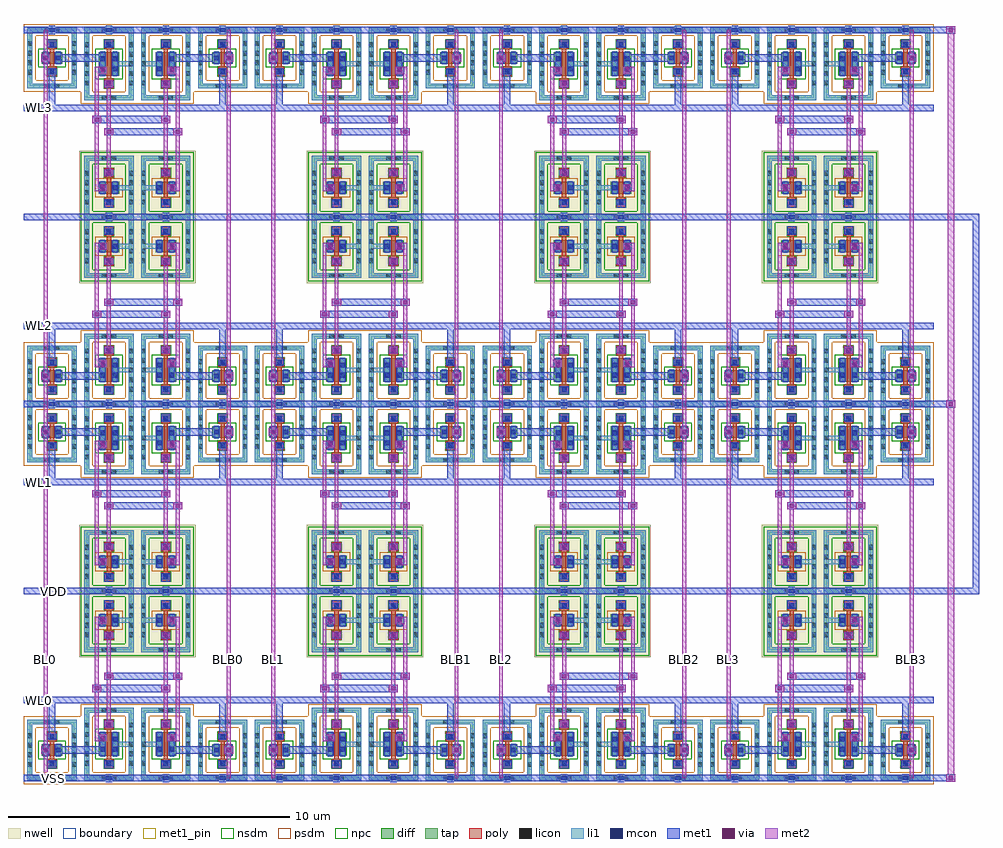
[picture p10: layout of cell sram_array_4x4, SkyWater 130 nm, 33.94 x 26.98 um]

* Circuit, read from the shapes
.subckt sram_array_4x4 BL0 BL1 BL2 BL3 BLB0 BLB1 BLB2 BLB3 VDD VSS WL0 WL1 WL2 WL3
XM1 sram_6t_0/Q WL0 BL0 VSS sky130_fd_pr__nfet_01v8 w=0.42 l=0.15
XM2 sram_6t_2/Q WL1 BL0 VSS sky130_fd_pr__nfet_01v8 w=0.42 l=0.15
XM3 sram_6t_8/Q WL2 BL0 VSS sky130_fd_pr__nfet_01v8 w=0.42 l=0.15
XM4 sram_6t_12/Q WL3 BL0 VSS sky130_fd_pr__nfet_01v8 w=0.42 l=0.15
XM5 VSS sram_6t_0/QB sram_6t_0/Q VSS sky130_fd_pr__nfet_01v8 w=0.84 l=0.15
XM6 VSS sram_6t_2/QB sram_6t_2/Q VSS sky130_fd_pr__nfet_01v8 w=0.84 l=0.15
XM7 VSS sram_6t_8/QB sram_6t_8/Q VSS sky130_fd_pr__nfet_01v8 w=0.84 l=0.15
XM8 VSS sram_6t_12/QB sram_6t_12/Q VSS sky130_fd_pr__nfet_01v8 w=0.84 l=0.15
XM9 sram_6t_0/QB sram_6t_0/Q VSS VSS sky130_fd_pr__nfet_01v8 w=0.84 l=0.15
XM10 sram_6t_2/QB sram_6t_2/Q VSS VSS sky130_fd_pr__nfet_01v8 w=0.84 l=0.15
XM11 sram_6t_8/QB sram_6t_8/Q VSS VSS sky130_fd_pr__nfet_01v8 w=0.84 l=0.15
XM12 sram_6t_12/QB sram_6t_12/Q VSS VSS sky130_fd_pr__nfet_01v8 w=0.84 l=0.15
XM13 BLB0 WL0 sram_6t_0/QB VSS sky130_fd_pr__nfet_01v8 w=0.42 l=0.15
XM14 BLB0 WL1 sram_6t_2/QB VSS sky130_fd_pr__nfet_01v8 w=0.42 l=0.15
XM15 BLB0 WL2 sram_6t_8/QB VSS sky130_fd_pr__nfet_01v8 w=0.42 l=0.15
XM16 BLB0 WL3 sram_6t_12/QB VSS sky130_fd_pr__nfet_01v8 w=0.42 l=0.15
XM17 sram_6t_1/Q WL0 BL1 VSS sky130_fd_pr__nfet_01v8 w=0.42 l=0.15
XM18 sram_6t_3/Q WL1 BL1 VSS sky130_fd_pr__nfet_01v8 w=0.42 l=0.15
XM19 sram_6t_9/Q WL2 BL1 VSS sky130_fd_pr__nfet_01v8 w=0.42 l=0.15
XM20 sram_6t_13/Q WL3 BL1 VSS sky130_fd_pr__nfet_01v8 w=0.42 l=0.15
XM21 VSS sram_6t_1/QB sram_6t_1/Q VSS sky130_fd_pr__nfet_01v8 w=0.84 l=0.15
XM22 VSS sram_6t_3/QB sram_6t_3/Q VSS sky130_fd_pr__nfet_01v8 w=0.84 l=0.15
XM23 VSS sram_6t_9/QB sram_6t_9/Q VSS sky130_fd_pr__nfet_01v8 w=0.84 l=0.15
XM24 VSS sram_6t_13/QB sram_6t_13/Q VSS sky130_fd_pr__nfet_01v8 w=0.84 l=0.15
XM25 sram_6t_1/QB sram_6t_1/Q VSS VSS sky130_fd_pr__nfet_01v8 w=0.84 l=0.15
XM26 sram_6t_3/QB sram_6t_3/Q VSS VSS sky130_fd_pr__nfet_01v8 w=0.84 l=0.15
XM27 sram_6t_9/QB sram_6t_9/Q VSS VSS sky130_fd_pr__nfet_01v8 w=0.84 l=0.15
XM28 sram_6t_13/QB sram_6t_13/Q VSS VSS sky130_fd_pr__nfet_01v8 w=0.84 l=0.15
XM29 BLB1 WL0 sram_6t_1/QB VSS sky130_fd_pr__nfet_01v8 w=0.42 l=0.15
XM30 BLB1 WL1 sram_6t_3/QB VSS sky130_fd_pr__nfet_01v8 w=0.42 l=0.15
XM31 BLB1 WL2 sram_6t_9/QB VSS sky130_fd_pr__nfet_01v8 w=0.42 l=0.15
XM32 BLB1 WL3 sram_6t_13/QB VSS sky130_fd_pr__nfet_01v8 w=0.42 l=0.15
XM33 sram_6t_4/Q WL0 BL2 VSS sky130_fd_pr__nfet_01v8 w=0.42 l=0.15
XM34 sram_6t_5/Q WL1 BL2 VSS sky130_fd_pr__nfet_01v8 w=0.42 l=0.15
XM35 sram_6t_10/Q WL2 BL2 VSS sky130_fd_pr__nfet_01v8 w=0.42 l=0.15
XM36 sram_6t_14/Q WL3 BL2 VSS sky130_fd_pr__nfet_01v8 w=0.42 l=0.15
XM37 VSS sram_6t_4/QB sram_6t_4/Q VSS sky130_fd_pr__nfet_01v8 w=0.84 l=0.15
XM38 VSS sram_6t_5/QB sram_6t_5/Q VSS sky130_fd_pr__nfet_01v8 w=0.84 l=0.15
XM39 VSS sram_6t_10/QB sram_6t_10/Q VSS sky130_fd_pr__nfet_01v8 w=0.84 l=0.15
XM40 VSS sram_6t_14/QB sram_6t_14/Q VSS sky130_fd_pr__nfet_01v8 w=0.84 l=0.15
XM41 sram_6t_4/QB sram_6t_4/Q VSS VSS sky130_fd_pr__nfet_01v8 w=0.84 l=0.15
XM42 sram_6t_5/QB sram_6t_5/Q VSS VSS sky130_fd_pr__nfet_01v8 w=0.84 l=0.15
XM43 sram_6t_10/QB sram_6t_10/Q VSS VSS sky130_fd_pr__nfet_01v8 w=0.84 l=0.15
XM44 sram_6t_14/QB sram_6t_14/Q VSS VSS sky130_fd_pr__nfet_01v8 w=0.84 l=0.15
XM45 BLB2 WL0 sram_6t_4/QB VSS sky130_fd_pr__nfet_01v8 w=0.42 l=0.15
XM46 BLB2 WL1 sram_6t_5/QB VSS sky130_fd_pr__nfet_01v8 w=0.42 l=0.15
XM47 BLB2 WL2 sram_6t_10/QB VSS sky130_fd_pr__nfet_01v8 w=0.42 l=0.15
XM48 BLB2 WL3 sram_6t_14/QB VSS sky130_fd_pr__nfet_01v8 w=0.42 l=0.15
XM49 sram_6t_6/Q WL0 BL3 VSS sky130_fd_pr__nfet_01v8 w=0.42 l=0.15
XM50 sram_6t_7/Q WL1 BL3 VSS sky130_fd_pr__nfet_01v8 w=0.42 l=0.15
XM51 sram_6t_11/Q WL2 BL3 VSS sky130_fd_pr__nfet_01v8 w=0.42 l=0.15
XM52 sram_6t_15/Q WL3 BL3 VSS sky130_fd_pr__nfet_01v8 w=0.42 l=0.15
XM53 VSS sram_6t_6/QB sram_6t_6/Q VSS sky130_fd_pr__nfet_01v8 w=0.84 l=0.15
XM54 VSS sram_6t_7/QB sram_6t_7/Q VSS sky130_fd_pr__nfet_01v8 w=0.84 l=0.15
XM55 VSS sram_6t_11/QB sram_6t_11/Q VSS sky130_fd_pr__nfet_01v8 w=0.84 l=0.15
XM56 VSS sram_6t_15/QB sram_6t_15/Q VSS sky130_fd_pr__nfet_01v8 w=0.84 l=0.15
XM57 sram_6t_6/QB sram_6t_6/Q VSS VSS sky130_fd_pr__nfet_01v8 w=0.84 l=0.15
XM58 sram_6t_7/QB sram_6t_7/Q VSS VSS sky130_fd_pr__nfet_01v8 w=0.84 l=0.15
XM59 sram_6t_11/QB sram_6t_11/Q VSS VSS sky130_fd_pr__nfet_01v8 w=0.84 l=0.15
XM60 sram_6t_15/QB sram_6t_15/Q VSS VSS sky130_fd_pr__nfet_01v8 w=0.84 l=0.15
XM61 BLB3 WL0 sram_6t_6/QB VSS sky130_fd_pr__nfet_01v8 w=0.42 l=0.15
XM62 BLB3 WL1 sram_6t_7/QB VSS sky130_fd_pr__nfet_01v8 w=0.42 l=0.15
XM63 BLB3 WL2 sram_6t_11/QB VSS sky130_fd_pr__nfet_01v8 w=0.42 l=0.15
XM64 BLB3 WL3 sram_6t_15/QB VSS sky130_fd_pr__nfet_01v8 w=0.42 l=0.15
XM65 VDD sram_6t_0/QB sram_6t_0/Q VDD sky130_fd_pr__pfet_01v8 w=0.42 l=0.15
XM66 VDD sram_6t_2/QB sram_6t_2/Q VDD sky130_fd_pr__pfet_01v8 w=0.42 l=0.15
XM67 VDD sram_6t_8/QB sram_6t_8/Q VDD sky130_fd_pr__pfet_01v8 w=0.42 l=0.15
XM68 VDD sram_6t_12/QB sram_6t_12/Q VDD sky130_fd_pr__pfet_01v8 w=0.42 l=0.15
XM69 sram_6t_0/QB sram_6t_0/Q VDD VDD sky130_fd_pr__pfet_01v8 w=0.42 l=0.15
XM70 sram_6t_2/QB sram_6t_2/Q VDD VDD sky130_fd_pr__pfet_01v8 w=0.42 l=0.15
XM71 sram_6t_8/QB sram_6t_8/Q VDD VDD sky130_fd_pr__pfet_01v8 w=0.42 l=0.15
XM72 sram_6t_12/QB sram_6t_12/Q VDD VDD sky130_fd_pr__pfet_01v8 w=0.42 l=0.15
XM73 VDD sram_6t_1/QB sram_6t_1/Q VDD sky130_fd_pr__pfet_01v8 w=0.42 l=0.15
XM74 VDD sram_6t_3/QB sram_6t_3/Q VDD sky130_fd_pr__pfet_01v8 w=0.42 l=0.15
XM75 VDD sram_6t_9/QB sram_6t_9/Q VDD sky130_fd_pr__pfet_01v8 w=0.42 l=0.15
XM76 VDD sram_6t_13/QB sram_6t_13/Q VDD sky130_fd_pr__pfet_01v8 w=0.42 l=0.15
XM77 sram_6t_1/QB sram_6t_1/Q VDD VDD sky130_fd_pr__pfet_01v8 w=0.42 l=0.15
XM78 sram_6t_3/QB sram_6t_3/Q VDD VDD sky130_fd_pr__pfet_01v8 w=0.42 l=0.15
XM79 sram_6t_9/QB sram_6t_9/Q VDD VDD sky130_fd_pr__pfet_01v8 w=0.42 l=0.15
XM80 sram_6t_13/QB sram_6t_13/Q VDD VDD sky130_fd_pr__pfet_01v8 w=0.42 l=0.15
XM81 VDD sram_6t_4/QB sram_6t_4/Q VDD sky130_fd_pr__pfet_01v8 w=0.42 l=0.15
XM82 VDD sram_6t_5/QB sram_6t_5/Q VDD sky130_fd_pr__pfet_01v8 w=0.42 l=0.15
XM83 VDD sram_6t_10/QB sram_6t_10/Q VDD sky130_fd_pr__pfet_01v8 w=0.42 l=0.15
XM84 VDD sram_6t_14/QB sram_6t_14/Q VDD sky130_fd_pr__pfet_01v8 w=0.42 l=0.15
XM85 sram_6t_4/QB sram_6t_4/Q VDD VDD sky130_fd_pr__pfet_01v8 w=0.42 l=0.15
XM86 sram_6t_5/QB sram_6t_5/Q VDD VDD sky130_fd_pr__pfet_01v8 w=0.42 l=0.15
XM87 sram_6t_10/QB sram_6t_10/Q VDD VDD sky130_fd_pr__pfet_01v8 w=0.42 l=0.15
XM88 sram_6t_14/QB sram_6t_14/Q VDD VDD sky130_fd_pr__pfet_01v8 w=0.42 l=0.15
XM89 VDD sram_6t_6/QB sram_6t_6/Q VDD sky130_fd_pr__pfet_01v8 w=0.42 l=0.15
XM90 VDD sram_6t_7/QB sram_6t_7/Q VDD sky130_fd_pr__pfet_01v8 w=0.42 l=0.15
XM91 VDD sram_6t_11/QB sram_6t_11/Q VDD sky130_fd_pr__pfet_01v8 w=0.42 l=0.15
XM92 VDD sram_6t_15/QB sram_6t_15/Q VDD sky130_fd_pr__pfet_01v8 w=0.42 l=0.15
XM93 sram_6t_6/QB sram_6t_6/Q VDD VDD sky130_fd_pr__pfet_01v8 w=0.42 l=0.15
XM94 sram_6t_7/QB sram_6t_7/Q VDD VDD sky130_fd_pr__pfet_01v8 w=0.42 l=0.15
XM95 sram_6t_11/QB sram_6t_11/Q VDD VDD sky130_fd_pr__pfet_01v8 w=0.42 l=0.15
XM96 sram_6t_15/QB sram_6t_15/Q VDD VDD sky130_fd_pr__pfet_01v8 w=0.42 l=0.15
.ends

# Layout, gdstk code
from math import pi, radians
import gdstk
lib = gdstk.Library(unit=1e-6, precision=1e-09)
def R(c, l, rs):  # rectangles x0, y0, x1, y1
    for r in rs: c.add(gdstk.rectangle(r[:2], r[2:], *l))
def A(c, l, x, y, w, h, nx, ny, dx, dy):  # array of equal rectangles
    R(c, l, [(x+i*dx, y+j*dy, x+i*dx+w, y+j*dy+h) for i in range(nx) for j in range(ny)])
nwell = (64, 20)
diff = (65, 20)
tap = (65, 44)
poly = (66, 20)
licon = (66, 44)
li1 = (67, 20)
mcon = (67, 44)
met1_pin = (68, 16)
met1 = (68, 20)
via = (68, 44)
met2 = (69, 20)
nsdm = (93, 44)
psdm = (94, 20)
npc = (95, 20)
boundary = (235, 4)

sky130_fd_pr__pfet_01v8_ = lib.new_cell('sky130_fd_pr__pfet_01v8_FQ5XRT')
R(sky130_fd_pr__pfet_01v8_, nwell, [(-1.055,-1.305,1.055,1.305)])
R(sky130_fd_pr__pfet_01v8_, diff, [(-0.365,-0.21,0.365,0.21)])
R(sky130_fd_pr__pfet_01v8_, tap, [(-0.875,-1.125,0.875,-0.955), (-0.875,-0.955,-0.705,0.955), (0.705,-0.955,0.875,0.955), (-0.875,0.955,0.875,1.125)])
R(sky130_fd_pr__pfet_01v8_, poly, [(-0.165,-0.695,0.165,-0.365), (-0.075,-0.365,0.075,0.365), (-0.165,0.365,0.165,0.695)])
A(sky130_fd_pr__pfet_01v8_, licon, -0.875, -0.595, 0.17, 0.17, 1, 4, 0, 0.34)
A(sky130_fd_pr__pfet_01v8_, licon, 0.705, -0.595, 0.17, 0.17, 1, 4, 0, 0.34)
R(sky130_fd_pr__pfet_01v8_, licon, [(-0.255,-1.125,-0.085,-0.955), (0.085,-1.125,0.255,-0.955), (-0.085,-0.615,0.085,-0.445), (-0.305,-0.085,-0.135,0.085), (0.135,-0.085,0.305,0.085), (-0.085,0.445,0.085,0.615), (-0.255,0.955,-0.085,1.125), (0.085,0.955,0.255,1.125)])
R(sky130_fd_pr__pfet_01v8_, li1, [(-0.875,-1.125,0.875,-0.955), (-0.875,-0.955,-0.705,0.955), (0.705,-0.955,0.875,0.955), (-0.165,-0.615,0.165,-0.445), (-0.305,-0.23,-0.135,0.23), (0.135,-0.23,0.305,0.23), (-0.165,0.445,0.165,0.615), (-0.875,0.955,0.875,1.125)])
R(sky130_fd_pr__pfet_01v8_, mcon, [(-0.085,-0.615,0.085,-0.445), (-0.305,-0.085,-0.135,0.085), (0.135,-0.085,0.305,0.085), (-0.085,0.445,0.085,0.615)])
R(sky130_fd_pr__pfet_01v8_, met1, [(-0.145,-0.645,0.145,-0.415), (-0.335,-0.21,-0.105,0.21), (0.105,-0.21,0.335,0.21), (-0.145,0.415,0.145,0.645)])
R(sky130_fd_pr__pfet_01v8_, nsdm, [(-1,-1.25,1,-0.83), (-1,-0.83,-0.58,0.83), (0.58,-0.83,1,0.83), (-1,0.83,1,1.25)])
R(sky130_fd_pr__pfet_01v8_, psdm, [(-0.49,-0.335,0.49,0.335)])
R(sky130_fd_pr__pfet_01v8_, npc, [(-0.185,-0.715,0.185,-0.345), (-0.185,0.345,0.185,0.715)])
R(sky130_fd_pr__pfet_01v8_, boundary, [(-0.79,-1.04,0.79,1.04)])
sky130_fd_pr__pfet_01v8_.add(gdstk.Label('B', (0,-1.04), layer=67, texttype=5))
sky130_fd_pr__pfet_01v8_.add(gdstk.Label('D', (-0.22,0), layer=67, texttype=5))
sky130_fd_pr__pfet_01v8_.add(gdstk.Label('S', (0.22,0), layer=67, texttype=5))
sky130_fd_pr__pfet_01v8_.add(gdstk.Label('G', (0,0.53), layer=67, texttype=5))

sky130_fd_pr__nfet_01v8_ = lib.new_cell('sky130_fd_pr__nfet_01v8_BXHNFL')
R(sky130_fd_pr__nfet_01v8_, diff, [(-0.365,-0.21,0.365,0.21)])
R(sky130_fd_pr__nfet_01v8_, tap, [(-0.875,-1.08,0.875,-0.91), (-0.875,-0.91,-0.705,0.91), (0.705,-0.91,0.875,0.91), (-0.875,0.91,0.875,1.08)])
R(sky130_fd_pr__nfet_01v8_, poly, [(-0.165,-0.65,0.165,-0.32), (-0.075,-0.32,0.075,0.32), (-0.165,0.32,0.165,0.65)])
A(sky130_fd_pr__nfet_01v8_, licon, -0.875, -0.595, 0.17, 0.17, 1, 4, 0, 0.34)
A(sky130_fd_pr__nfet_01v8_, licon, 0.705, -0.595, 0.17, 0.17, 1, 4, 0, 0.34)
R(sky130_fd_pr__nfet_01v8_, licon, [(-0.255,-1.08,-0.085,-0.91), (0.085,-1.08,0.255,-0.91), (-0.085,-0.57,0.085,-0.4), (-0.305,-0.085,-0.135,0.085), (0.135,-0.085,0.305,0.085), (-0.085,0.4,0.085,0.57), (-0.255,0.91,-0.085,1.08), (0.085,0.91,0.255,1.08)])
R(sky130_fd_pr__nfet_01v8_, li1, [(-0.875,-1.08,0.875,-0.91), (-0.875,-0.91,-0.705,0.91), (0.705,-0.91,0.875,0.91), (-0.165,-0.57,0.165,-0.4), (-0.305,-0.23,-0.135,0.23), (0.135,-0.23,0.305,0.23), (-0.165,0.4,0.165,0.57), (-0.875,0.91,0.875,1.08)])
R(sky130_fd_pr__nfet_01v8_, mcon, [(-0.085,-0.57,0.085,-0.4), (-0.305,-0.085,-0.135,0.085), (0.135,-0.085,0.305,0.085), (-0.085,0.4,0.085,0.57)])
R(sky130_fd_pr__nfet_01v8_, met1, [(-0.145,-0.6,0.145,-0.37), (-0.335,-0.21,-0.105,0.21), (0.105,-0.21,0.335,0.21), (-0.145,0.37,0.145,0.6)])
R(sky130_fd_pr__nfet_01v8_, nsdm, [(-0.49,-0.335,0.49,0.335)])
R(sky130_fd_pr__nfet_01v8_, psdm, [(-1,-1.205,1,-0.785), (-1,-0.785,-0.58,0.785), (0.58,-0.785,1,0.785), (-1,0.785,1,1.205)])
R(sky130_fd_pr__nfet_01v8_, npc, [(-0.185,-0.67,0.185,-0.3), (-0.185,0.3,0.185,0.67)])
R(sky130_fd_pr__nfet_01v8_, boundary, [(-0.79,-0.995,0.79,0.995)])
sky130_fd_pr__nfet_01v8_.add(gdstk.Label('B', (0,-0.995), layer=67, texttype=5))
sky130_fd_pr__nfet_01v8_.add(gdstk.Label('D', (-0.22,0), layer=67, texttype=5))
sky130_fd_pr__nfet_01v8_.add(gdstk.Label('S', (0.22,0), layer=67, texttype=5))
sky130_fd_pr__nfet_01v8_.add(gdstk.Label('G', (0,0.485), layer=67, texttype=5))

c_sky130_fd_pr__nfet_01v8_ = lib.new_cell('sky130_fd_pr__nfet_01v8_J5LRGV')
R(c_sky130_fd_pr__nfet_01v8_, diff, [(-0.365,-0.42,0.365,0.42)])
R(c_sky130_fd_pr__nfet_01v8_, tap, [(-0.875,-1.29,0.875,-1.12), (-0.875,-1.12,-0.705,1.12), (0.705,-1.12,0.875,1.12), (-0.875,1.12,0.875,1.29)])
R(c_sky130_fd_pr__nfet_01v8_, poly, [(-0.165,-0.86,0.165,-0.53), (-0.075,-0.53,0.075,0.53), (-0.165,0.53,0.165,0.86)])
A(c_sky130_fd_pr__nfet_01v8_, licon, -0.875, -0.765, 0.17, 0.17, 1, 5, 0, 0.34)
A(c_sky130_fd_pr__nfet_01v8_, licon, 0.705, -0.765, 0.17, 0.17, 1, 5, 0, 0.34)
R(c_sky130_fd_pr__nfet_01v8_, licon, [(-0.255,-1.29,-0.085,-1.12), (0.085,-1.29,0.255,-1.12), (-0.085,-0.78,0.085,-0.61), (-0.305,-0.255,-0.135,-0.085), (0.135,-0.255,0.305,-0.085), (-0.305,0.085,-0.135,0.255), (0.135,0.085,0.305,0.255), (-0.085,0.61,0.085,0.78), (-0.255,1.12,-0.085,1.29), (0.085,1.12,0.255,1.29)])
R(c_sky130_fd_pr__nfet_01v8_, li1, [(-0.875,-1.29,0.875,-1.12), (-0.875,-1.12,-0.705,1.12), (0.705,-1.12,0.875,1.12), (-0.165,-0.78,0.165,-0.61), (-0.305,-0.44,-0.135,0.44), (0.135,-0.44,0.305,0.44), (-0.165,0.61,0.165,0.78), (-0.875,1.12,0.875,1.29)])
R(c_sky130_fd_pr__nfet_01v8_, mcon, [(-0.085,-0.78,0.085,-0.61), (-0.305,-0.265,-0.135,-0.095), (0.135,-0.265,0.305,-0.095), (-0.305,0.095,-0.135,0.265), (0.135,0.095,0.305,0.265), (-0.085,0.61,0.085,0.78)])
R(c_sky130_fd_pr__nfet_01v8_, met1, [(-0.145,-0.81,0.145,-0.58), (-0.335,-0.42,-0.105,0.42), (0.105,-0.42,0.335,0.42), (-0.145,0.58,0.145,0.81)])
R(c_sky130_fd_pr__nfet_01v8_, nsdm, [(-0.49,-0.545,0.49,0.545)])
R(c_sky130_fd_pr__nfet_01v8_, psdm, [(-1,-1.415,1,-0.995), (-1,-0.995,-0.58,0.995), (0.58,-0.995,1,0.995), (-1,0.995,1,1.415)])
R(c_sky130_fd_pr__nfet_01v8_, npc, [(-0.185,-0.88,0.185,-0.51), (-0.185,0.51,0.185,0.88)])
R(c_sky130_fd_pr__nfet_01v8_, boundary, [(-0.79,-1.205,0.79,1.205)])
c_sky130_fd_pr__nfet_01v8_.add(gdstk.Label('B', (0,-1.205), layer=67, texttype=5))
c_sky130_fd_pr__nfet_01v8_.add(gdstk.Label('D', (-0.22,0), layer=67, texttype=5))
c_sky130_fd_pr__nfet_01v8_.add(gdstk.Label('S', (0.22,0), layer=67, texttype=5))
c_sky130_fd_pr__nfet_01v8_.add(gdstk.Label('G', (0,0.695), layer=67, texttype=5))

sram_6t = lib.new_cell('sram_6t')
A(sram_6t, li1, -0.085, -1.29, 0.17, 0.17, 4, 1, 2.02, 0)
R(sram_6t, li1, [(2.24,-0.085,2.775,0.085), (3.285,-0.085,3.82,0.085), (2.24,4.31,2.775,4.48), (3.285,4.31,3.82,4.48), (1.935,5.35,2.105,5.52), (3.955,5.35,4.125,5.52)])
A(sram_6t, mcon, -0.085, -1.29, 0.17, 0.17, 4, 1, 2.02, 0)
R(sram_6t, mcon, [(1.935,5.35,2.105,5.52), (3.955,5.35,4.125,5.52)])
A(sram_6t, met1, -0.115, -1.35, 0.23, 0.03, 4, 2, 2.02, 0.26)
A(sram_6t, met1, -0.16, -0.86, 0.32, 0.28, 4, 1, 2.02, 0)
R(sram_6t, met1, [(-1.01,-1.32,7.07,-1.09), (-0.38,-0.34,-0.06,-0.08), (0.105,-0.34,1.915,-0.08), (4.145,-0.34,5.955,-0.08), (6.12,-0.34,6.44,-0.08), (1.64,0.1,1.96,0.36), (4.1,0.1,4.42,0.36), (-0.115,0.16,0.115,1.45), (5.945,0.16,6.175,1.45), (1.86,0.58,2.18,0.84), (3.88,0.58,4.2,0.84), (-1.01,1.45,7.07,1.68), (1.435,1.85,4.2,2.11), (1.86,2.28,4.625,2.54), (1.86,3.735,2.18,3.995), (3.88,3.735,4.2,3.995), (1.64,4.265,1.96,4.525), (4.1,4.265,4.42,4.525), (1.86,4.81,2.18,5.1), (3.88,4.81,4.2,5.1), (1.905,5.29,2.135,5.32), (3.925,5.29,4.155,5.32), (-1.01,5.32,7.07,5.55), (1.905,5.55,2.135,5.58), (3.925,5.55,4.155,5.58)])
R(sram_6t, via, [(-0.295,-0.285,-0.145,-0.135), (6.205,-0.285,6.355,-0.135), (1.725,0.155,1.875,0.305), (4.185,0.155,4.335,0.305), (1.945,0.635,2.095,0.785), (3.965,0.635,4.115,0.785), (1.52,1.905,1.67,2.055), (3.965,1.905,4.115,2.055), (1.945,2.335,2.095,2.485), (4.39,2.335,4.54,2.485), (1.945,3.79,2.095,3.94), (3.965,3.79,4.115,3.94), (1.725,4.32,1.875,4.47), (4.185,4.32,4.335,4.47)])
R(sram_6t, met2, [(-0.29,-1.205,-0.15,-0.34), (6.21,-1.205,6.35,-0.34), (-0.38,-0.34,-0.06,-0.08), (6.12,-0.34,6.44,-0.08), (-0.29,-0.08,-0.15,5.435), (6.21,-0.08,6.35,5.435), (1.525,0.1,1.96,0.36), (4.1,0.1,4.535,0.36), (1.525,0.36,1.665,1.85), (4.395,0.36,4.535,2.28), (1.86,0.58,2.18,0.84), (3.88,0.58,4.2,0.84), (1.95,0.84,2.09,2.28), (3.97,0.84,4.11,1.85), (1.435,1.85,1.755,2.11), (3.88,1.85,4.2,2.11), (1.525,2.11,1.665,4.265), (3.97,2.11,4.11,3.735), (1.86,2.28,2.18,2.54), (4.305,2.28,4.625,2.54), (1.95,2.54,2.09,3.735), (4.395,2.54,4.535,4.265), (1.86,3.735,2.18,3.995), (3.88,3.735,4.2,3.995), (1.525,4.265,1.96,4.525), (4.1,4.265,4.535,4.525)])
R(sram_6t, nsdm, [(3.02,3.145,3.04,5.645)])
R(sram_6t, psdm, [(1,-1.415,1.02,0.995), (3.02,-1.415,3.04,1.415), (5.04,-1.415,5.06,0.995)])
sram_6t.add(gdstk.Reference(sky130_fd_pr__pfet_01v8_, (4.04,4.395), rotation=pi, x_reflection=True))
sram_6t.add(gdstk.Reference(sky130_fd_pr__pfet_01v8_, (2.02,4.395)))
sram_6t.add(gdstk.Reference(sky130_fd_pr__nfet_01v8_, (0,-0.21)))
sram_6t.add(gdstk.Reference(c_sky130_fd_pr__nfet_01v8_, (2.02,0)))
sram_6t.add(gdstk.Reference(sky130_fd_pr__nfet_01v8_, (6.06,-0.21), rotation=pi, x_reflection=True))
sram_6t.add(gdstk.Reference(c_sky130_fd_pr__nfet_01v8_, (4.04,0), rotation=pi, x_reflection=True))
sram_6t.add(gdstk.Label('BL', (-0.22,3), layer=69, texttype=5))
sram_6t.add(gdstk.Label('BLB', (6.28,3), layer=69, texttype=5))
sram_6t.add(gdstk.Label('WL', (-0.5,1.565), layer=68, texttype=5))
sram_6t.add(gdstk.Label('Q', (1.595,3.25), layer=69, texttype=5))
sram_6t.add(gdstk.Label('QB', (4.465,3.25), layer=69, texttype=5))
sram_6t.add(gdstk.Label('VDD', (0,5.435), layer=68, texttype=5))
sram_6t.add(gdstk.Label('VSS', (0,-1.205), layer=68, texttype=5))

sram_array_4x4 = lib.new_cell('sram_array_4x4')
R(sram_array_4x4, met1_pin, [(0,-1.32,0.14,-1.09), (-0.5,1.45,-0.36,1.68), (0,5.32,0.14,5.55), (-0.5,9.19,-0.36,9.42), (-0.5,14.73,-0.36,14.96), (-0.5,22.47,-0.36,22.7)])
A(sram_array_4x4, met1, 31.26, -1.32, 0.81, 0.23, 1, 3, 0, 13.28)
R(sram_array_4x4, met1, [(31.75,-1.335,32.07,-1.32), (0,-1.32,0.14,-1.09), (31.75,-1.09,32.07,-1.075), (-0.5,1.45,-0.36,1.68), (0,5.32,0.14,5.55), (31.26,5.32,32.925,5.55), (32.695,5.55,32.925,18.6), (-0.5,9.19,-0.36,9.42), (31.75,11.945,32.07,11.96), (31.75,12.19,32.07,12.205), (-0.5,14.73,-0.36,14.96), (31.26,18.6,32.925,18.83), (-0.5,22.47,-0.36,22.7), (31.75,25.225,32.07,25.24), (31.75,25.47,32.07,25.485)])
A(sram_array_4x4, via, 31.835, -1.28, 0.15, 0.15, 1, 3, 0, 13.28)
A(sram_array_4x4, met2, 31.75, -1.335, 0.32, 0.26, 1, 3, 0, 13.28)
R(sram_array_4x4, met2, [(31.795,-1.075,32.025,11.945), (-0.29,3,-0.15,3.14), (6.21,3,6.35,3.14), (7.79,3,7.93,3.14), (14.29,3,14.43,3.14), (15.87,3,16.01,3.14), (22.37,3,22.51,3.14), (23.95,3,24.09,3.14), (30.45,3,30.59,3.14), (31.795,12.205,32.025,25.225)])
A(sram_array_4x4, psdm, 7.06, -1.415, 0.02, 2.41, 3, 2, 8.08, 24.57)
A(sram_array_4x4, psdm, 7.06, 9.875, 0.02, 4.4, 3, 1, 8.08, 0)
sram_array_4x4.add(gdstk.Reference(sram_6t, (0,0)))
sram_array_4x4.add(gdstk.Reference(sram_6t, (8.08,0)))
sram_array_4x4.add(gdstk.Reference(sram_6t, (0,10.87), x_reflection=True))
sram_array_4x4.add(gdstk.Reference(sram_6t, (8.08,10.87), x_reflection=True))
sram_array_4x4.add(gdstk.Reference(sram_6t, (16.16,0)))
sram_array_4x4.add(gdstk.Reference(sram_6t, (16.16,10.87), x_reflection=True))
sram_array_4x4.add(gdstk.Reference(sram_6t, (24.24,0)))
sram_array_4x4.add(gdstk.Reference(sram_6t, (24.24,10.87), x_reflection=True))
sram_array_4x4.add(gdstk.Reference(sram_6t, (0,13.28)))
sram_array_4x4.add(gdstk.Reference(sram_6t, (8.08,13.28)))
sram_array_4x4.add(gdstk.Reference(sram_6t, (16.16,13.28)))
sram_array_4x4.add(gdstk.Reference(sram_6t, (24.24,13.28)))
sram_array_4x4.add(gdstk.Reference(sram_6t, (0,24.15), x_reflection=True))
sram_array_4x4.add(gdstk.Reference(sram_6t, (8.08,24.15), x_reflection=True))
sram_array_4x4.add(gdstk.Reference(sram_6t, (16.16,24.15), x_reflection=True))
sram_array_4x4.add(gdstk.Reference(sram_6t, (24.24,24.15), x_reflection=True))
sram_array_4x4.add(gdstk.Label('BL0', (-0.22,3), layer=69, texttype=5))
sram_array_4x4.add(gdstk.Label('BLB0', (6.28,3), layer=69, texttype=5))
sram_array_4x4.add(gdstk.Label('BL1', (7.86,3), layer=69, texttype=5))
sram_array_4x4.add(gdstk.Label('BLB1', (14.36,3), layer=69, texttype=5))
sram_array_4x4.add(gdstk.Label('BL2', (15.94,3), layer=69, texttype=5))
sram_array_4x4.add(gdstk.Label('BLB2', (22.44,3), layer=69, texttype=5))
sram_array_4x4.add(gdstk.Label('BL3', (24.02,3), layer=69, texttype=5))
sram_array_4x4.add(gdstk.Label('BLB3', (30.52,3), layer=69, texttype=5))
sram_array_4x4.add(gdstk.Label('WL0', (-0.43,1.565), layer=68, texttype=5))
sram_array_4x4.add(gdstk.Label('WL1', (-0.43,9.305), layer=68, texttype=5))
sram_array_4x4.add(gdstk.Label('WL2', (-0.43,14.845), layer=68, texttype=5))
sram_array_4x4.add(gdstk.Label('WL3', (-0.43,22.585), layer=68, texttype=5))
sram_array_4x4.add(gdstk.Label('VDD', (0.07,5.435), layer=68, texttype=5))
sram_array_4x4.add(gdstk.Label('VSS', (0.07,-1.205), layer=68, texttype=5))

lib.write_gds('sram_array_4x4.gds')
